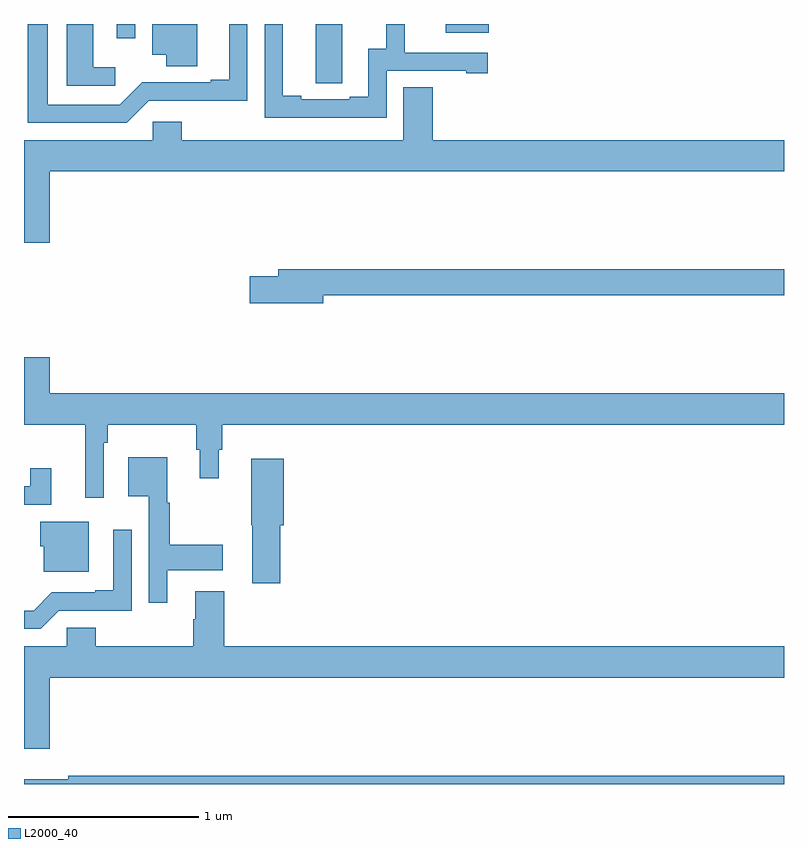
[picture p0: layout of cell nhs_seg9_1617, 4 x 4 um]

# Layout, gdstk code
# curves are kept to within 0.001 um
import gdstk
lib = gdstk.Library(unit=1e-6, precision=1e-09)
def R(c, l, rs):  # rectangles x0, y0, x1, y1
    for r in rs: c.add(gdstk.rectangle(r[:2], r[2:], *l))
def P(c, l, *ps):  # polygons
    for p in ps: c.add(gdstk.Polygon(p, *l))
L2000_40 = (2000, 40)

nhs_seg9_1617 = lib.new_cell('nhs_seg9_1617')
R(nhs_seg9_1617, L2000_40, [(201.489,1226.424,201.585,1226.5), (203.219,1226.453,203.446,1226.5)])
P(nhs_seg9_1617, L2000_40, [(201.913,1226.5),(201.674,1226.5),(201.674,1226.339),(201.749,1226.339),(201.749,1226.278),(201.913,1226.278)],
  [(202.674,1226.296),(202.675,1226.296),(202.675,1226.5),(202.535,1226.5),(202.535,1226.188),(202.674,1226.188)],
  [(201.481,1226.272),(201.364,1226.272),(201.364,1226.5),(201.224,1226.5),(201.224,1226.175),(201.481,1226.175)],
  [(201.657,1226.097),(202.176,1226.096),(202.176,1226.5),(202.079,1226.5),(202.079,1226.206),(201.983,1226.206),(201.983,1226.193),(201.622,1226.194),(201.504,1226.076),(201.124,1226.076),(201.124,1226.5),(201.02,1226.5),(201.02,1225.98),(201.54,1225.98)],
  [(202.908,1226.253),(203.327,1226.253),(203.327,1226.241),(203.44,1226.241),(203.44,1226.349),(203.006,1226.349),(203.006,1226.35),(203.004,1226.35),(203.004,1226.5),(202.906,1226.5),(202.906,1226.369),(202.811,1226.369),(202.811,1226.118),(202.715,1226.118),(202.715,1226.103),(202.459,1226.103),(202.459,1226.123),(202.363,1226.123),(202.363,1226.5),(202.266,1226.5),(202.266,1226.007),(202.908,1226.007)],
  [(201.136,1225.724),(205,1225.724),(205,1225.888),(203.15,1225.888),(203.15,1226.168),(202.997,1226.168),(202.997,1225.888),(201.83,1225.888),(201.83,1225.986),(201.678,1225.986),(201.678,1225.888),(201,1225.888),(201,1225.35),(201.136,1225.35)],
  [(202.576,1225.072),(205,1225.072),(205,1225.208),(202.337,1225.208),(202.337,1225.172),(202.188,1225.172),(202.188,1225.03),(202.576,1225.03)],
  [(201.42,1224.296),(201.44,1224.296),(201.44,1224.392),(201.907,1224.392),(201.907,1224.258),(201.926,1224.258),(201.926,1224.108),(202.024,1224.108),(202.024,1224.258),(202.043,1224.258),(202.043,1224.392),(205,1224.392),(205,1224.556),(201.136,1224.556),(201.136,1224.745),(201,1224.745),(201,1224.392),(201.323,1224.392),(201.323,1224.006),(201.42,1224.006)],
  [(201.754,1223.624),(202.045,1223.624),(202.045,1223.759),(201.766,1223.759),(201.766,1223.979),(201.754,1223.979),(201.754,1224.22),(201.548,1224.22),(201.548,1224.014),(201.657,1224.014),(201.657,1223.454),(201.754,1223.454)],
  [(202.349,1223.862),(202.367,1223.862),(202.367,1224.211),(202.196,1224.211),(202.196,1223.862),(202.202,1223.862),(202.202,1223.556),(202.349,1223.556)],
  [(201.143,1224.163),(201.034,1224.163),(201.034,1224.066),(201,1224.066),(201,1223.97),(201.143,1223.97)],
  [(201.34,1223.881),(201.086,1223.881),(201.086,1223.751),(201.104,1223.751),(201.104,1223.618),(201.34,1223.618)],
  [(201.183,1223.412),(201.567,1223.412),(201.567,1223.839),(201.47,1223.839),(201.47,1223.521),(201.374,1223.521),(201.374,1223.508),(201.147,1223.508),(201.051,1223.412),(201,1223.412),(201,1223.316),(201.087,1223.316)],
  [(201.136,1223.06),(205,1223.06),(205,1223.224),(202.055,1223.224),(202.055,1223.515),(201.902,1223.515),(201.902,1223.366),(201.89,1223.366),(201.89,1223.224),(201.377,1223.224),(201.377,1223.322),(201.225,1223.322),(201.225,1223.224),(201,1223.224),(201,1222.686),(201.136,1222.686)],
  [(205,1222.544),(201.232,1222.544),(201.232,1222.525),(201,1222.525),(201,1222.5),(205,1222.5)])

lib.write_gds('nhs_seg9_1617.gds')
